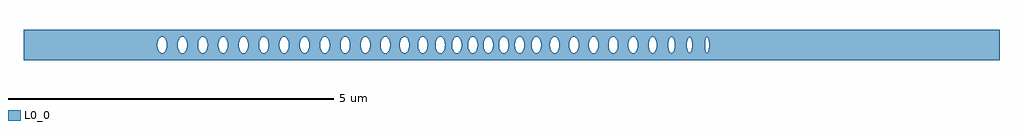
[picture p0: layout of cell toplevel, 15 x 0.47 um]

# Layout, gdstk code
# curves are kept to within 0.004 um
import gdstk
lib = gdstk.Library(unit=1e-6, precision=1e-09)
def P(c, l, *ps):  # polygons
    for p in ps: c.add(gdstk.Polygon(p, *l))
L0_0 = (0, 0)

toplevel = lib.new_cell('toplevel')
P(toplevel, L0_0, [(-4.763,-0.234),(-4.763,-0.123),(-4.784,-0.108),(-4.798,-0.087),(-4.817,-0.016),(-4.814,0.039),(-4.801,0.081),(-4.784,0.108),(-4.763,0.123),(-4.763,0.234),(-7.5,0.234),(-7.5,0),(-5.443,0),(-5.438,0.047),(-5.42,0.093),(-5.397,0.119),(-5.37,0.128),(-5.344,0.119),(-5.317,0.087),(-5.301,0.039),(-5.298,-0.008),(-5.13,-0.008),(-5.125,0.047),(-5.107,0.093),(-5.084,0.119),(-5.057,0.128),(-5.031,0.119),(-5.011,0.098),(-4.996,0.068),(-4.985,0.008),(-4.99,-0.047),(-5.008,-0.093),(-5.031,-0.119),(-5.057,-0.128),(-5.084,-0.119),(-5.104,-0.098),(-5.119,-0.068),(-5.13,-0.008),(-5.298,-0.008),(-5.301,-0.039),(-5.317,-0.087),(-5.344,-0.119),(-5.37,-0.128),(-5.397,-0.119),(-5.42,-0.093),(-5.438,-0.047),(-5.443,0),(-7.5,0),(-7.5,-0.234)],
  [(-4.049,-0.032),(-4.05,-0.234),(-3.22,-0.234),(-3.22,-0.108),(-3.24,-0.075),(-3.253,-0.016),(-3.247,0.054),(-3.22,0.108),(-3.22,0.234),(-4.05,0.234),(-4.047,-0.008),(-3.879,-0.008),(-3.874,0.047),(-3.856,0.093),(-3.833,0.119),(-3.807,0.128),(-3.78,0.119),(-3.757,0.093),(-3.739,0.047),(-3.735,-0.016),(-3.566,-0.016),(-3.561,0.047),(-3.55,0.081),(-3.533,0.108),(-3.494,0.128),(-3.467,0.119),(-3.435,0.075),(-3.421,0),(-3.435,-0.075),(-3.455,-0.108),(-3.48,-0.125),(-3.507,-0.125),(-3.533,-0.108),(-3.555,-0.068),(-3.566,-0.016),(-3.735,-0.016),(-3.745,-0.068),(-3.76,-0.098),(-3.78,-0.119),(-3.807,-0.128),(-3.833,-0.119),(-3.853,-0.098),(-3.868,-0.068),(-3.879,-0.008),(-4.047,-0.008)],
  [(-2.487,-0.039),(-2.497,-0.075),(-2.497,-0.234),(-1.667,-0.234),(-1.667,-0.121),(-1.691,-0.098),(-1.703,-0.075),(-1.717,-0.008),(-1.706,0.068),(-1.691,0.098),(-1.667,0.121),(-1.667,0.234),(-2.497,0.234),(-2.497,0.074),(-2.488,0.047),(-2.483,-0.008),(-2.317,-0.008),(-2.312,0.047),(-2.294,0.093),(-2.271,0.119),(-2.245,0.128),(-2.218,0.119),(-2.195,0.093),(-2.177,0.047),(-2.172,-0.008),(-2.012,-0.008),(-2.007,0.047),(-1.989,0.093),(-1.966,0.119),(-1.939,0.128),(-1.913,0.119),(-1.893,0.098),(-1.878,0.068),(-1.867,0.016),(-1.87,-0.039),(-1.881,-0.075),(-1.904,-0.112),(-1.939,-0.128),(-1.966,-0.119),(-1.989,-0.093),(-2.007,-0.047),(-2.012,-0.008),(-2.172,-0.008),(-2.183,-0.068),(-2.198,-0.098),(-2.218,-0.119),(-2.245,-0.128),(-2.271,-0.119),(-2.291,-0.098),(-2.306,-0.068),(-2.317,-0.008),(-2.483,-0.008)],
  [(-0.426,0.032),(-0.412,0.081),(-0.395,0.108),(-0.356,0.128),(-0.356,0.234),(-1.022,0.234),(-1.022,-0.008),(-0.912,-0.008),(-0.907,0.047),(-0.889,0.093),(-0.866,0.119),(-0.839,0.128),(-0.805,0.112),(-0.781,0.075),(-0.769,0.032),(-0.768,-0.016),(-0.667,-0.016),(-0.664,0.039),(-0.653,0.075),(-0.63,0.112),(-0.595,0.128),(-0.568,0.119),(-0.545,0.093),(-0.527,0.047),(-0.522,0.008),(-0.527,-0.047),(-0.545,-0.093),(-0.568,-0.119),(-0.595,-0.128),(-0.621,-0.119),(-0.641,-0.098),(-0.656,-0.068),(-0.667,-0.016),(-0.768,-0.016),(-0.778,-0.068),(-0.793,-0.098),(-0.813,-0.119),(-0.839,-0.128),(-0.866,-0.119),(-0.886,-0.098),(-0.901,-0.068),(-0.912,-0.008),(-1.022,-0.008),(-1.022,-0.234),(-0.356,-0.234),(-0.356,-0.128),(-0.391,-0.112),(-0.412,-0.081),(-0.428,-0.016)],
  [(-0.356,0.234),(-0.356,0.128),(-0.329,0.119),(-0.306,0.093),(-0.29,0.054),(-0.284,-0.008),(-0.191,-0.008),(-0.186,0.047),(-0.168,0.093),(-0.145,0.119),(-0.119,0.128),(-0.092,0.119),(-0.072,0.098),(-0.057,0.068),(-0.046,0.008),(-0.051,-0.047),(-0.069,-0.093),(-0.092,-0.119),(-0.119,-0.128),(-0.145,-0.119),(-0.165,-0.098),(-0.18,-0.068),(-0.191,-0.008),(-0.284,-0.008),(-0.29,-0.054),(-0.306,-0.093),(-0.329,-0.119),(-0.356,-0.128),(-0.356,-0.234),(0.195,-0.234),(0.195,-0.024),(0.185,-0.068),(0.17,-0.098),(0.15,-0.119),(0.124,-0.128),(0.097,-0.119),(0.074,-0.093),(0.056,-0.047),(0.051,-0.008),(0.056,0.047),(0.065,0.075),(0.085,0.108),(0.11,0.125),(0.137,0.125),(0.159,0.112),(0.185,0.068),(0.195,0.024),(0.195,0.234)],
  [(0.888,0.016),(0.898,0.068),(0.913,0.098),(0.933,0.119),(0.964,0.127),(0.964,0.234),(0.195,0.234),(0.195,-0.016),(0.31,-0.016),(0.312,0.032),(0.323,0.075),(0.347,0.112),(0.382,0.128),(0.409,0.119),(0.432,0.093),(0.448,0.054),(0.454,-0.008),(0.59,-0.008),(0.595,0.047),(0.613,0.093),(0.636,0.119),(0.663,0.128),(0.689,0.119),(0.709,0.098),(0.724,0.068),(0.735,0.008),(0.732,-0.039),(0.712,-0.093),(0.689,-0.119),(0.663,-0.128),(0.636,-0.119),(0.613,-0.093),(0.595,-0.047),(0.59,-0.008),(0.454,-0.008),(0.448,-0.054),(0.432,-0.093),(0.409,-0.119),(0.382,-0.128),(0.355,-0.119),(0.332,-0.093),(0.31,-0.016),(0.195,-0.016),(0.195,-0.234),(0.964,-0.234),(0.964,-0.127),(0.933,-0.119),(0.91,-0.093),(0.892,-0.047)],
  [(0.964,0.234),(0.964,0.127),(0.994,0.112),(1.018,0.075),(1.03,0.032),(1.031,-0.016),(1.189,-0.016),(1.192,0.039),(1.205,0.081),(1.226,0.112),(1.261,0.128),(1.288,0.119),(1.311,0.093),(1.327,0.054),(1.333,-0.016),(1.491,-0.016),(1.493,0.032),(1.504,0.075),(1.528,0.112),(1.563,0.128),(1.59,0.119),(1.613,0.093),(1.635,0.016),(1.633,-0.032),(1.622,-0.075),(1.598,-0.112),(1.563,-0.128),(1.536,-0.119),(1.513,-0.093),(1.497,-0.054),(1.491,-0.016),(1.333,-0.016),(1.327,-0.054),(1.311,-0.093),(1.288,-0.119),(1.261,-0.128),(1.235,-0.119),(1.215,-0.098),(1.2,-0.068),(1.189,-0.016),(1.031,-0.016),(1.021,-0.068),(1.006,-0.098),(0.986,-0.119),(0.964,-0.127),(0.964,-0.234),(1.795,-0.234),(1.795,0.234)],
  [(1.937,-0.039),(1.924,-0.081),(1.907,-0.108),(1.881,-0.125),(1.854,-0.125),(1.829,-0.108),(1.809,-0.075),(1.795,0),(1.795,-0.234),(2.422,-0.234),(2.422,-0.085),(2.408,-0.023),(2.409,0.031),(2.422,0.085),(2.422,0.234),(1.795,0.234),(1.795,0),(1.802,0.054),(1.818,0.093),(1.841,0.119),(1.863,0.127),(1.894,0.119),(1.921,0.087),(1.937,0.039),(1.94,-0.016),(2.108,-0.016),(2.115,0.061),(2.14,0.11),(2.162,0.125),(2.178,0.125),(2.193,0.117),(2.213,0.092),(2.228,0.046),(2.231,-0.024),(2.213,-0.092),(2.185,-0.122),(2.162,-0.125),(2.133,-0.102),(2.115,-0.061),(2.108,-0.016),(1.94,-0.016)],
  [(2.429,0.1),(2.456,0.124),(2.473,0.12),(2.485,0.108),(2.507,0.053),(2.511,-0.023),(2.695,-0.023),(2.695,0.023),(2.704,0.078),(2.716,0.107),(2.734,0.122),(2.75,0.116),(2.769,0.078),(2.778,0.023),(2.778,-0.022),(2.974,-0.022),(2.982,0.082),(2.992,0.109),(3.007,0.12),(3.019,0.109),(3.03,0.076),(3.037,-0.022),(3.026,-0.092),(3.007,-0.12),(2.988,-0.101),(2.974,-0.022),(2.778,-0.022),(2.765,-0.089),(2.75,-0.116),(2.739,-0.122),(2.726,-0.118),(2.712,-0.099),(2.695,-0.023),(2.511,-0.023),(2.498,-0.085),(2.476,-0.118),(2.45,-0.122),(2.437,-0.112),(2.422,-0.086),(2.422,-0.234),(7.5,-0.234),(7.5,0.234),(2.422,0.234),(2.422,0.085)],
  [(-4.676,-0.039),(-4.686,-0.075),(-4.71,-0.112),(-4.74,-0.127),(-4.763,-0.123),(-4.763,-0.234),(-4.405,-0.234),(-4.405,-0.119),(-4.432,-0.128),(-4.459,-0.119),(-4.471,-0.108),(-4.491,-0.075),(-4.504,-0.016),(-4.498,0.054),(-4.475,0.103),(-4.446,0.125),(-4.432,0.128),(-4.405,0.119),(-4.405,0.234),(-4.763,0.234),(-4.763,0.123),(-4.731,0.125),(-4.71,0.112),(-4.695,0.093),(-4.677,0.047),(-4.672,0.008)],
  [(-4.05,-0.039),(-4.063,-0.081),(-4.08,-0.108),(-4.101,-0.123),(-4.124,-0.127),(-4.146,-0.119),(-4.169,-0.093),(-4.187,-0.047),(-4.192,-0.008),(-4.187,0.047),(-4.178,0.075),(-4.158,0.108),(-4.133,0.125),(-4.106,0.125),(-4.08,0.108),(-4.063,0.081),(-4.05,0.039),(-4.05,0.234),(-4.405,0.234),(-4.405,0.119),(-4.373,0.075),(-4.36,0.016),(-4.362,-0.032),(-4.373,-0.075),(-4.405,-0.119),(-4.405,-0.234),(-4.05,-0.234)],
  [(-3.111,-0.032),(-3.125,-0.081),(-3.154,-0.119),(-3.181,-0.128),(-3.208,-0.119),(-3.22,-0.108),(-3.22,-0.234),(-2.864,-0.234),(-2.864,-0.127),(-2.895,-0.119),(-2.915,-0.098),(-2.932,-0.061),(-2.941,-0.008),(-2.936,0.047),(-2.918,0.093),(-2.895,0.119),(-2.864,0.127),(-2.864,0.234),(-3.22,0.234),(-3.22,0.108),(-3.208,0.119),(-3.181,0.128),(-3.154,0.119),(-3.142,0.108),(-3.125,0.081),(-3.112,0.039)],
  [(-2.497,-0.075),(-2.529,-0.119),(-2.556,-0.128),(-2.582,-0.119),(-2.602,-0.098),(-2.617,-0.068),(-2.628,-0.008),(-2.617,0.068),(-2.602,0.098),(-2.582,0.119),(-2.556,0.128),(-2.529,0.119),(-2.497,0.075),(-2.497,0.234),(-2.864,0.234),(-2.864,0.127),(-2.842,0.119),(-2.819,0.093),(-2.801,0.047),(-2.796,0.008),(-2.801,-0.047),(-2.819,-0.093),(-2.842,-0.119),(-2.864,-0.127),(-2.864,-0.234),(-2.497,-0.234)],
  [(-1.573,-0.024),(-1.583,-0.068),(-1.606,-0.108),(-1.618,-0.119),(-1.644,-0.128),(-1.667,-0.121),(-1.667,-0.234),(-1.328,-0.234),(-1.328,-0.112),(-1.363,-0.128),(-1.397,-0.112),(-1.424,-0.068),(-1.435,-0.008),(-1.424,0.068),(-1.401,0.108),(-1.389,0.119),(-1.363,0.128),(-1.328,0.112),(-1.328,0.234),(-1.667,0.234),(-1.667,0.121),(-1.644,0.128),(-1.631,0.125),(-1.598,0.098),(-1.577,0.047)],
  [(-1.022,-0.008),(-1.027,-0.047),(-1.045,-0.093),(-1.068,-0.119),(-1.094,-0.128),(-1.121,-0.119),(-1.141,-0.098),(-1.156,-0.068),(-1.167,-0.008),(-1.162,0.047),(-1.144,0.093),(-1.121,0.119),(-1.094,0.128),(-1.068,0.119),(-1.048,0.098),(-1.033,0.068),(-1.022,0.008),(-1.022,0.234),(-1.328,0.234),(-1.328,0.112),(-1.301,0.068),(-1.29,0.008),(-1.301,-0.068),(-1.328,-0.112),(-1.328,-0.234),(-1.022,-0.234)])

lib.write_gds('toplevel.gds')
